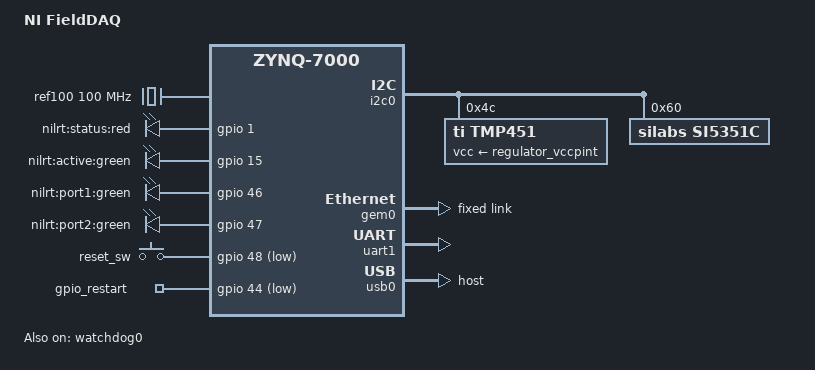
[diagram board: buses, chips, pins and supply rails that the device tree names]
/dts-v1/;
/include/ "ni-zynq.dtsi"

/ {
	model = "NI FieldDAQ";
	compatible = "ni,zynq", "xlnx,zynq-7000";

	/*
	 * This 100MHz reference clock is actually the output of a Si514;
	 * However, we do not declare it in the device tree because it is
	 * steered in usermode, and therefore we don't want a kernel driver
	 * to attach to it.
	 */
	ref100: oscillator {
		compatible = "fixed-clock";
		#clock-cells = <0>;
		clock-frequency = <100000000>;
	};

	amba@0 {
		i2c0: i2c@e0004000 {
			/* Override ni-zynq.dtsi; we do not have a CPLD at 0x40. */
			nicpld@40 {
				status = "disabled";
			};

			tmp451@4C {
				compatible = "ti,tmp451";
				reg = <0x4C>;
				vcc-supply = <&regulator_vccpint>;
			};

			si5351c: clock-generator@60 {
				compatible = "silabs,si5351c";
				reg = <0x60>;
				#address-cells = <1>;
				#size-cells = <0>;
				#clock-cells = <1>;

				clocks = <&ref100>;
				clock-names = "clkin";

				silabs,pll-source = <0 1>, <1 0>;
				silabs,pll-frequency = <0 737280000>;

				umber-btsi0 {
					reg = <0>;
					silabs,drive-strength = <8>;
					silabs,multisynth-source = <0>;
					silabs,clock-source = <0>;
					silabs,disable-state = <0>;
					clock-frequency = <12800000>;
				};

				umber-sysclk {
					reg = <1>;
					silabs,drive-strength = <8>;
					silabs,multisynth-source = <0>;
					silabs,clock-source = <0>;
					silabs,disable-state = <0>;
					clock-frequency = <80000000>;
				};

				umber-btsi1 {
					reg = <2>;
					silabs,drive-strength = <8>;
					silabs,multisynth-source = <0>;
					silabs,clock-source = <0>;
					silabs,disable-state = <0>;
					clock-frequency = <13107200>;
				};

				umber-btsi3 {
					reg = <4>;
					silabs,drive-strength = <8>;
					silabs,multisynth-source = <0>;
					silabs,clock-source = <0>;
					silabs,disable-state = <0>;
					clock-frequency = <10240000>;
				};

				umber-btsi4 {
					reg = <7>;
					silabs,drive-strength = <8>;
					silabs,multisynth-source = <0>;
					silabs,clock-source = <0>;
					silabs,disable-state = <0>;
					clock-frequency = <12288000>;
				};
			};
		};
	};

	leds {
		compatible = "gpio-leds";

		/* "LED_USER_RED" is on GPIO1 */
		status {
			label = "nilrt:status:red";
			gpios = <&gpio 1 0>;
			default-state = "on";
		};

		/* "LED_USER_GREEN" is on GPIO15 */
		active {
			label = "nilrt:active:green";
			gpios = <&gpio 15 0>;
			default-state = "off";
		};

		/* "ZYNQ_LED0_P1" is on GPIO46 */
		port1 {
			label = "nilrt:port1:green";
			gpios = <&gpio 46 0>;
			linux,default-trigger = "dsa-0:00:01:link";
		};

		/* "ZYNQ_LED0_P2" is on GPIO47 */
		port2 {
			label = "nilrt:port2:green";
			gpios = <&gpio 47 0>;
			linux,default-trigger = "dsa-0:00:02:link";
		};
	};

	gpio_keys {
		compatible = "gpio-keys";
		#address-cells = <1>;
		#size-cells = <0>;

		/* Reset switch is on GPIO48 */
		reset_sw@0 {
			label = "reset_sw";
			gpios = <&gpio 48 1 /* GPIO_ACTIVE_LOW */>;
			linux,code = <408>; /* KEY_RESTART */
			gpio-key,wakeup;
		};
	};

	gpio_restart {
		compatible = "gpio-restart";

		/* ~PS_FORCE_RESET is on GPIO44 */
		gpios = <&gpio 44 1 /* GPIO_ACTIVE_LOW */>;
		priority = <200>;
	};

	dsa@0 {
		compatible = "marvell,dsa";
		#address-cells = <2>;
		#size-cells = <0>;

		dsa,ethernet = <&gem0>;
		dsa,mii-bus = <&gem0>;

		switch@0 {
			#address-cells = <1>;
			#size-cells = <0>;
			/* MDIO addr 0x0 (single-chip addressing), switch 0 */
			reg = <0 0>;

			port@0 {
				reg = <0x0>;
				label = "cpu";
			};

			port@1 {
				reg = <0x1>;
				label = "sw0";
				/* phy-handle = <&swport1>; */
			};

			port@2 {
				reg = <0x2>;
				label = "sw1";
				/* phy-handle = <&swport2>; */
			};
		};
	};
};

&gem0 {
	status = "okay";
	emio-speed-gpios = <0>,
			   <&gpio 54 0>;

	#address-cells = <0x1>;
	#size-cells = <0x0>;

	fixed-link {
		speed = <1000>;
		full-duplex;
		reg = <0>;
	};
};

&uart1 {
	status = "okay";
};

&usb0 {
	status = "okay";
	dr_mode = "host";
};

&watchdog0 {
	status = "okay";
	reset-on-timeout;
};
